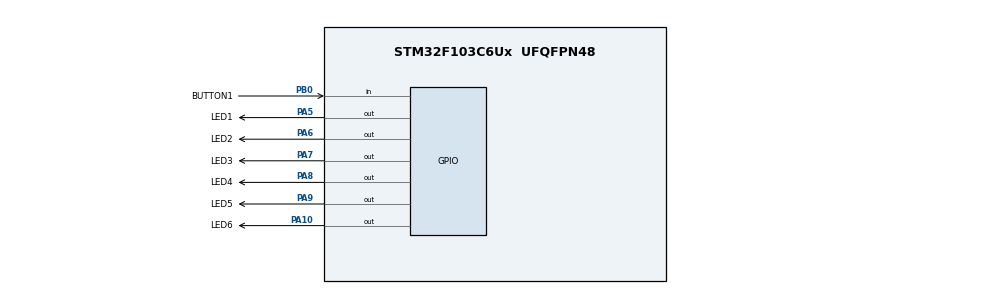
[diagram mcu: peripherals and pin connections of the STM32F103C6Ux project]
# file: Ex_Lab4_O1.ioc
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Mcu.Family=STM32F1
Mcu.Name=STM32F103C6Ux
Mcu.Package=UFQFPN48
NVIC.PriorityGroup=NVIC_PRIORITYGROUP_4
NVIC.TIM2_IRQn=true\:0\:0\:false\:false\:true\:true\:true
PA10.GPIO_Label=LED6
PA10.Signal=GPIO_Output
PA5.GPIO_Label=LED1
PA5.Signal=GPIO_Output
PA6.GPIO_Label=LED2
PA6.Signal=GPIO_Output
PA7.GPIO_Label=LED3
PA7.Signal=GPIO_Output
PA8.GPIO_Label=LED4
PA8.Signal=GPIO_Output
PA9.GPIO_Label=LED5
PA9.Signal=GPIO_Output
PB0.GPIO_Label=BUTTON1
PB0.Signal=GPIO_Input
ProjectManager.HeapSize=0x200
ProjectManager.StackSize=0x400
ProjectManager.TargetToolchain=STM32CubeIDE
RCC.APB1Freq_Value=8000000
RCC.APB2Freq_Value=8000000
TIM2.Period=9
TIM2.Prescaler=7999
VP_SYS_VS_ND.Mode=No_Debug
VP_TIM2_VS_ClockSourceINT.Mode=Internal
board=custom

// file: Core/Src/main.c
/* USER CODE BEGIN Header */
/**
  ******************************************************************************
  * @file           : main.c
  * @brief          : Main program body
  ******************************************************************************
  * @attention
  *
  * <h2><center>&copy; Copyright (c) 2024 STMicroelectronics.
  * All rights reserved.</center></h2>
  *
  * This software component is licensed by ST under BSD 3-Clause license,
  * the "License"; You may not use this file except in compliance with the
  * License. You may obtain a copy of the License at:
  *                        opensource.org/licenses/BSD-3-Clause
  *
  ******************************************************************************
  */
/* USER CODE END Header */
#include "main.h"

/* USER CODE BEGIN Includes */
#include "scheduler.h"
#include "button.h"
#include "list.h"

int status = 0;
int prev_status = 0;
int counter = 50;
void Func2(){
	counter--;
	if(counter <= 0){
		prev_status = 1 - prev_status;
		counter = 42;
	}
	if (status == 0 && prev_status == 0){
		HAL_GPIO_TogglePin(LED2_GPIO_Port, LED2_Pin);
		status = 1 - status;
	}
	else if (status == 1 && prev_status == 1){
		HAL_GPIO_TogglePin(LED2_GPIO_Port, LED2_Pin);
		status = 1 - status;
	}
}
/* USER CODE END Includes */

TIM_HandleTypeDef htim2;

void SystemClock_Config(void);
static void MX_GPIO_Init(void);
static void MX_TIM2_Init(void);

/* USER CODE BEGIN 0 */
void Func1(){
	HAL_GPIO_TogglePin(LED1_GPIO_Port, LED1_Pin);
}

void Funo2(){
	HAL_GPIO_TogglePin(LED2_GPIO_Port, LED2_Pin);
}

void Func3(){
	HAL_GPIO_TogglePin(LED3_GPIO_Port, LED3_Pin);
}

void Func4(){
	HAL_GPIO_TogglePin(LED4_GPIO_Port, LED4_Pin);
}

void Func5(){
	HAL_GPIO_TogglePin(LED5_GPIO_Port, LED5_Pin);
}

void Func6(){
	if(is_button_pressed_short(0) == 1){
		HAL_GPIO_TogglePin(LED6_GPIO_Port, LED6_Pin);
	}
	else if(is_button_pressed_1s(0) == 1){
		HAL_GPIO_TogglePin(LED6_GPIO_Port, LED6_Pin);
	}
}
/* USER CODE END 0 */

int main(void)
{

  /* MCU Configuration--------------------------------------------------------*/

  /* Reset of all peripherals, Initializes the Flash interface and the Systick. */
  HAL_Init();

  /* Configure the system clock */
  SystemClock_Config();

  /* Initialize all configured peripherals */
  MX_GPIO_Init();
  MX_TIM2_Init();
  /* USER CODE BEGIN 2 */
  HAL_TIM_Base_Start_IT(&htim2);

  /* USER CODE END 2 */

  /* Infinite loop */
  /* USER CODE BEGIN WHILE */
  SCH_Init();
  SCH_Add_Task(Func1, 1, 50);
  SCH_Add_Task(Func2, 2, 100);
  SCH_Add_Task(Func3, 5, 150);
  SCH_Add_Task(Func4, 7, 200);
  SCH_Add_Task(Func5, 250, 0);

  SCH_Add_Task(Func6, 9, 1);
  SCH_Add_Task(button_reading, 11, 2);
  while (1)
  {
	  SCH_Dispatch_Tasks();
    /* USER CODE END WHILE */

  }
}

void SystemClock_Config(void)
{
  RCC_OscInitTypeDef RCC_OscInitStruct = {0};
  RCC_ClkInitTypeDef RCC_ClkInitStruct = {0};

  /** Initializes the RCC Oscillators according to the specified parameters
  * in the RCC_OscInitTypeDef structure.
  */
  RCC_OscInitStruct.OscillatorType = RCC_OSCILLATORTYPE_HSI;
  RCC_OscInitStruct.HSIState = RCC_HSI_ON;
  RCC_OscInitStruct.HSICalibrationValue = RCC_HSICALIBRATION_DEFAULT;
  RCC_OscInitStruct.PLL.PLLState = RCC_PLL_NONE;
  if (HAL_RCC_OscConfig(&RCC_OscInitStruct) != HAL_OK)
  {
    Error_Handler();
  }
  /** Initializes the CPU, AHB and APB buses clocks
  */
  RCC_ClkInitStruct.ClockType = RCC_CLOCKTYPE_HCLK|RCC_CLOCKTYPE_SYSCLK
                              |RCC_CLOCKTYPE_PCLK1|RCC_CLOCKTYPE_PCLK2;
  RCC_ClkInitStruct.SYSCLKSource = RCC_SYSCLKSOURCE_HSI;
  RCC_ClkInitStruct.AHBCLKDivider = RCC_SYSCLK_DIV1;
  RCC_ClkInitStruct.APB1CLKDivider = RCC_HCLK_DIV1;
  RCC_ClkInitStruct.APB2CLKDivider = RCC_HCLK_DIV1;

  if (HAL_RCC_ClockConfig(&RCC_ClkInitStruct, FLASH_LATENCY_0) != HAL_OK)
  {
    Error_Handler();
  }
}

static void MX_TIM2_Init(void)
{

  TIM_ClockConfigTypeDef sClockSourceConfig = {0};
  TIM_MasterConfigTypeDef sMasterConfig = {0};

  htim2.Instance = TIM2;
  htim2.Init.Prescaler = 7999;
  htim2.Init.CounterMode = TIM_COUNTERMODE_UP;
  htim2.Init.Period = 9;
  htim2.Init.ClockDivision = TIM_CLOCKDIVISION_DIV1;
  htim2.Init.AutoReloadPreload = TIM_AUTORELOAD_PRELOAD_DISABLE;
  if (HAL_TIM_Base_Init(&htim2) != HAL_OK)
  {
    Error_Handler();
  }
  sClockSourceConfig.ClockSource = TIM_CLOCKSOURCE_INTERNAL;
  if (HAL_TIM_ConfigClockSource(&htim2, &sClockSourceConfig) != HAL_OK)
  {
    Error_Handler();
  }
  sMasterConfig.MasterOutputTrigger = TIM_TRGO_RESET;
  sMasterConfig.MasterSlaveMode = TIM_MASTERSLAVEMODE_DISABLE;
  if (HAL_TIMEx_MasterConfigSynchronization(&htim2, &sMasterConfig) != HAL_OK)
  {
    Error_Handler();
  }

}

static void MX_GPIO_Init(void)
{
  GPIO_InitTypeDef GPIO_InitStruct = {0};

  /* GPIO Ports Clock Enable */
  __HAL_RCC_GPIOA_CLK_ENABLE();
  __HAL_RCC_GPIOB_CLK_ENABLE();

  /*Configure GPIO pin Output Level */
  HAL_GPIO_WritePin(GPIOA, LED1_Pin|LED2_Pin|LED3_Pin|LED4_Pin
                          |LED5_Pin|LED6_Pin, GPIO_PIN_RESET);

  /*Configure GPIO pins : LED1_Pin LED2_Pin LED3_Pin LED4_Pin
                           LED5_Pin LED6_Pin */
  GPIO_InitStruct.Pin = LED1_Pin|LED2_Pin|LED3_Pin|LED4_Pin
                          |LED5_Pin|LED6_Pin;
  GPIO_InitStruct.Mode = GPIO_MODE_OUTPUT_PP;
  GPIO_InitStruct.Pull = GPIO_NOPULL;
  GPIO_InitStruct.Speed = GPIO_SPEED_FREQ_LOW;
  HAL_GPIO_Init(GPIOA, &GPIO_InitStruct);

  /*Configure GPIO pin : BUTTON1_Pin */
  GPIO_InitStruct.Pin = BUTTON1_Pin;
  GPIO_InitStruct.Mode = GPIO_MODE_INPUT;
  GPIO_InitStruct.Pull = GPIO_NOPULL;
  HAL_GPIO_Init(BUTTON1_GPIO_Port, &GPIO_InitStruct);

}

/* USER CODE BEGIN 4 */
void HAL_TIM_PeriodElapsedCallback(TIM_HandleTypeDef *htim){
	if(htim->Instance == TIM2){
		SCH_Update();
	}
}
/* USER CODE END 4 */

void Error_Handler(void)
{
  __disable_irq();
  while (1)
  {
  }
}

/************************ (C) COPYRIGHT STMicroelectronics *****END OF FILE****/
